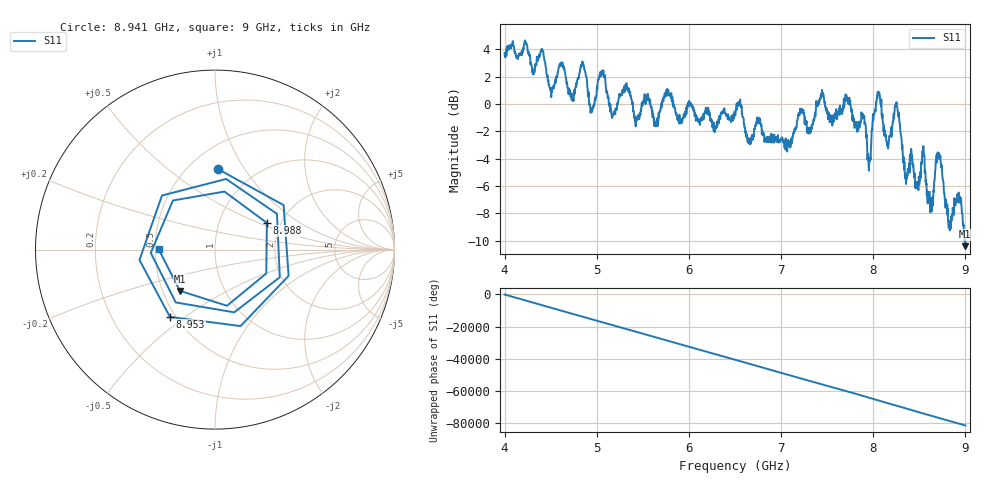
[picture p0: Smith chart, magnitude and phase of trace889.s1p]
! Created with skrf 1.8.0 (http://scikit-rf.org).
# Hz S RI R 50.0
!freq ReS11 ImS11
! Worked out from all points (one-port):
!   1601 points, 4 GHz to 9 GHz, reference 50 ohm
!   lowest |S11| = -10.4 dB at 8.997 GHz (marker M1), VSWR 1.86, Z = 30.7 - j15.5 ohm
!   |S11| at or under -10 dB: 8.990665 GHz to 8.991688 GHz (1.023 MHz wide, 0.0114 % of centre); 8.994595 GHz to end of sweep
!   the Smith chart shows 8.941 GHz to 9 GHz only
!   S11 on the Smith chart (normalised r, x): 8.941 GHz: 0.69, +0.77; 8.953 GHz: 0.47, -0.44; 8.988 GHz: 1.69, +0.56; 9 GHz: 0.52, +0.00
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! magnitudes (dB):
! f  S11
! 4 GHz  3.7
! 4.403 GHz  4.0
! 4.509 GHz  0.9
! 4.625 GHz  3.0
! 4.731 GHz  0.6
! 4.853 GHz  3.0
! 4.944 GHz  -0.6
! 5.05 GHz  2.0
! 5.169 GHz  -1.0
! 5.25 GHz  0.6
! 5.875 GHz  -1.1
! 6.5 GHz  -0.6
! 7.125 GHz  -2.3
! 7.75 GHz  0.2
! 7.956 GHz  -4.3
! 8.05 GHz  0.8
! 8.153 GHz  -3.0
! 8.256 GHz  -0.1
! 8.375 GHz  -4.7
! 8.544 GHz  -3.1
! 8.625 GHz  -7.1
! 8.709 GHz  -3.8
! 8.825 GHz  -8.7
! 8.941 GHz  -7.0
! 8.953 GHz  -6.9
! 8.988 GHz  -9.8
! 8.997 GHz  -10.4
! 9 GHz  -10.1
